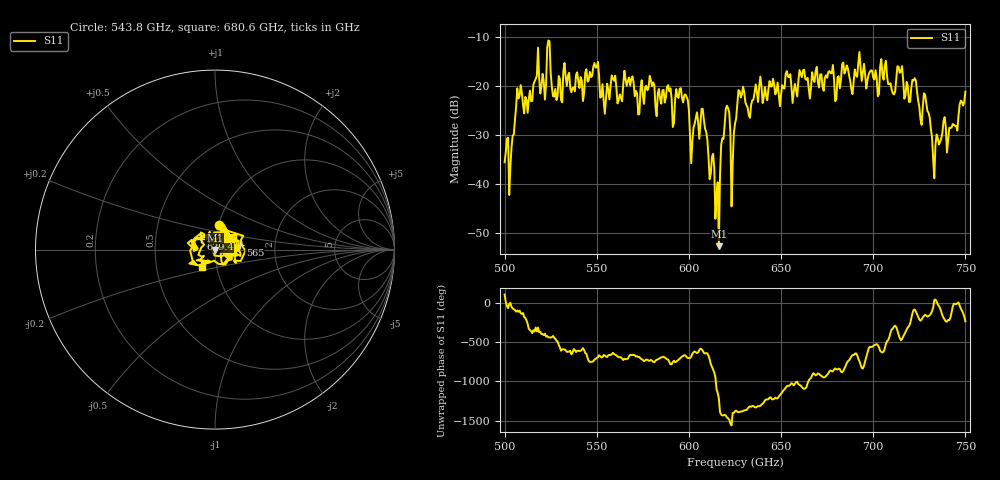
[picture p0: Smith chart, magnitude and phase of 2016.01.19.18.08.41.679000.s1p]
!Created with skrf (http://scikit-rf.org).
# GHz S RI R 50.0
!freq ReS11 ImS11
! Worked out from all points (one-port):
!   401 points, 500 GHz to 750 GHz, reference 50 ohm
!   lowest |S11| = -52.7 dB at 616.2 GHz (marker M1), VSWR 1.00, Z = 49.8 - j0.156 ohm
!   |S11| at or under -10 dB: start of sweep to end of sweep
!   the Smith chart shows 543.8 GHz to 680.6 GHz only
!   S11 on the Smith chart (normalised r, x): 543.8 GHz: 1.00, +0.28; 565 GHz: 1.32, +0.07; 639.4 GHz: 0.85, +0.10; 680.6 GHz: 0.85, -0.17
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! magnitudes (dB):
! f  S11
! 500 GHz  -35.6
! 503.8 GHz  -32.6
! 508.1 GHz  -22.1
! 523.8 GHz  -10.8
! 526.9 GHz  -22.2
! 531.2 GHz  -23.4
! 543.8 GHz  -17.3
! 549.4 GHz  -16.3
! 562.5 GHz  -21.8
! 565 GHz  -16.9
! 593.8 GHz  -22.2
! 601.9 GHz  -31.2
! 608.1 GHz  -27.0
! 615 GHz  -42.2
! 616.2 GHz  -52.7
! 620.6 GHz  -24.0
! 623.1 GHz  -44.6
! 625 GHz  -27.7
! 628.1 GHz  -22.4
! 639.4 GHz  -20.1
! 656.2 GHz  -23.5
! 680.6 GHz  -18.3
! 687.5 GHz  -19.0
! 714.4 GHz  -17.3
! 718.8 GHz  -20.1
! 728.8 GHz  -23.5
! 733.8 GHz  -32.1
! 750 GHz  -21.2
